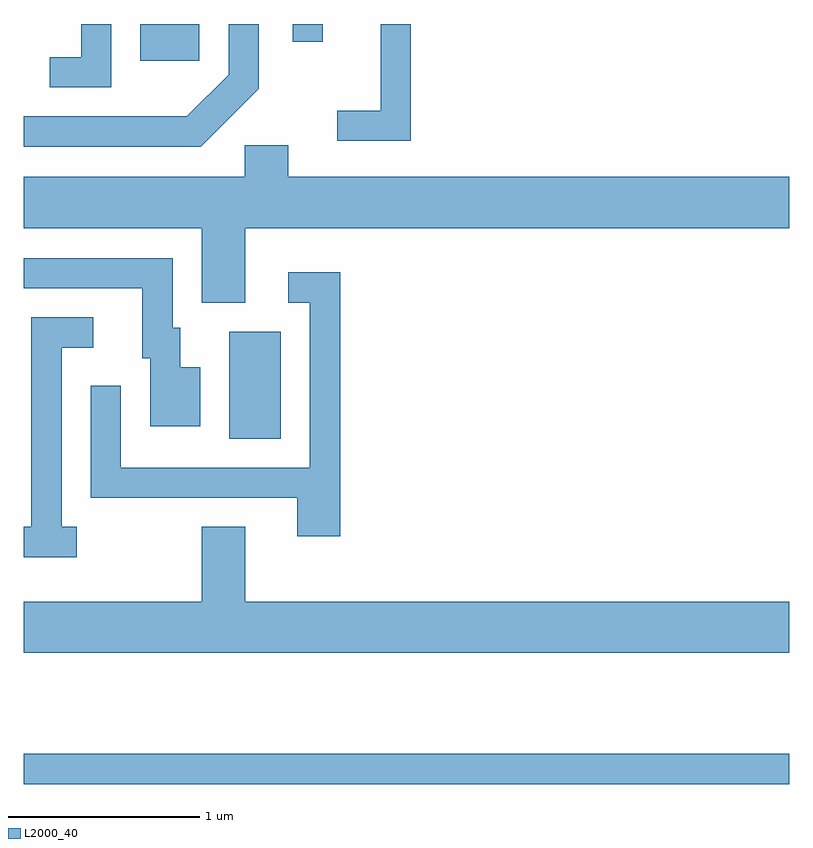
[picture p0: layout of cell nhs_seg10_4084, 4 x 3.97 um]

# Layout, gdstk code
import gdstk
lib = gdstk.Library(unit=1e-6, precision=1e-09)
def R(c, l, rs):  # rectangles x0, y0, x1, y1
    for r in rs: c.add(gdstk.rectangle(r[:2], r[2:], *l))
def P(c, l, *ps):  # polygons
    for p in ps: c.add(gdstk.Polygon(p, *l))
L2000_40 = (2000, 40)

nhs_seg10_4084 = lib.new_cell('nhs_seg10_4084')
R(nhs_seg10_4084, L2000_40, [(305.611,2126.551,309.611,2126.709), (306.686,2128.356,306.954,2128.914), (306.221,2130.331,306.529,2130.522), (307.016,2130.428,307.174,2130.522)])
P(nhs_seg10_4084, L2000_40, [(307.634,2130.522),(307.476,2130.522),(307.476,2130.069),(307.248,2130.069),(307.248,2129.911),(307.634,2129.911)],
  [(306.069,2130.522),(305.911,2130.522),(305.911,2130.349),(305.748,2130.349),(305.748,2130.191),(306.069,2130.191)],
  [(306.839,2130.184),(306.839,2130.522),(306.681,2130.522),(306.681,2130.257),(306.464,2130.039),(305.611,2130.039),(305.611,2129.881),(306.537,2129.881)],
  [(306.769,2129.456),(309.611,2129.456),(309.611,2129.724),(306.994,2129.724),(306.994,2129.889),(306.766,2129.889),(306.766,2129.724),(305.611,2129.724),(305.611,2129.456),(306.541,2129.456),(306.541,2129.066),(306.769,2129.066)],
  [(306.534,2128.729),(306.429,2128.729),(306.429,2128.934),(306.389,2128.934),(306.389,2129.299),(305.611,2129.299),(305.611,2129.141),(306.231,2129.141),(306.231,2128.776),(306.271,2128.776),(306.271,2128.421),(306.534,2128.421)],
  [(307.264,2129.224),(306.993,2129.224),(306.993,2129.066),(307.106,2129.066),(307.106,2128.204),(306.119,2128.204),(306.119,2128.633),(305.961,2128.633),(305.961,2128.046),(307.041,2128.046),(307.041,2127.846),(307.264,2127.846)],
  [(305.888,2127.894),(305.809,2127.894),(305.809,2128.831),(305.973,2128.831),(305.973,2128.989),(305.651,2128.989),(305.651,2127.894),(305.611,2127.894),(305.611,2127.736),(305.888,2127.736)],
  [(309.611,2127.504),(306.769,2127.504),(306.769,2127.894),(306.541,2127.894),(306.541,2127.504),(305.611,2127.504),(305.611,2127.236),(309.611,2127.236)])

lib.write_gds('nhs_seg10_4084.gds')
